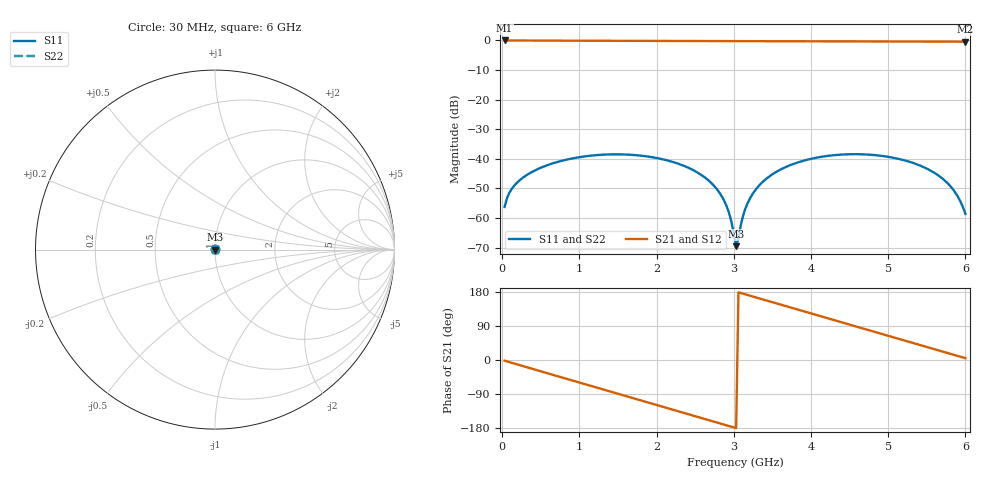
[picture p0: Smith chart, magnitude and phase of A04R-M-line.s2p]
! yapnr Order 0 O0-M: O0-M A04R M dL30 ROT (line, family M)
! stackup OSHPARK-4L-FR408HR, nominal parameters; geometry of the OSHPARK-4L-FR408HR design
! model: 2D quasi-static RLGC (Djordjevic-Sarkar, Huray roughness, Wheeler loss); generated by python -m yapnr.rf.coupons expected --stackup OSHPARK-4L-FR408HR --upload M
! reference planes 10 mm from each end; 50 ohm (from the M line's Zc)
# GHz S DB R 50
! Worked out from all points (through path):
!   200 points, 30 MHz to 6 GHz, reference 50 ohm
!   highest |S21| = -0.01 dB at 30 MHz (marker M1); lowest = -0.4 dB at 6 GHz (marker M2)
!   group delay of S21, straight-line fit = 164 ps
!   lowest |S11| = -69.5 dB at 3.03 GHz (marker M3), VSWR 1.00, Z = 50 - j0.00849 ohm
!   |S11| at or under -10 dB: start of sweep to end of sweep
!   |S22| runs from -69.5 to -38.4 dB; largest |S21 - S12| = 0
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0.03  -56.27 41.8  -0.01 -1.9  -0.01 -1.9  -56.27 41.8
0.12  -50.26 42.2  -0.03 -7.3  -0.03 -7.3  -50.26 42.2
0.33  -45.28 38.6  -0.05 -19.8  -0.05 -19.8  -45.28 38.6
0.66  -41.50 27.4  -0.08 -39.4  -0.08 -39.4  -41.50 27.4
1.05  -39.26 10.3  -0.11 -62.6  -0.11 -62.6  -39.26 10.3
1.53  -38.51 -13.3  -0.14 -91.0  -0.14 -91.0  -38.51 -13.3
2.04  -39.95 -39.7  -0.18 -121.2  -0.18 -121.2  -39.95 -39.7
2.46  -43.65 -61.4  -0.21 -146.0  -0.21 -146.0  -43.65 -61.4
2.76  -49.63 -75.0  -0.23 -163.8  -0.23 -163.8  -49.63 -75.0
2.91  -56.24 -76.7  -0.23 -172.6  -0.23 -172.6  -56.24 -76.7
2.97  -61.44 -69.5  -0.24 -176.2  -0.24 -176.2  -61.44 -69.5
3.03  -69.53 -14.7  -0.24 -179.7  -0.24 -179.7  -69.53 -14.7
3.15  -56.82 64.4  -0.25 173.2  -0.25 173.2  -56.82 64.4
3.3  -49.86 63.4  -0.26 164.3  -0.26 164.3  -49.86 63.4
3.6  -43.70 49.6  -0.28 146.6  -0.28 146.6  -43.70 49.6
4.02  -39.90 27.2  -0.31 121.8  -0.31 121.8  -39.90 27.2
4.53  -38.45 -0.9  -0.34 91.6  -0.34 91.6  -38.45 -0.9
5.01  -39.39 -27.3  -0.37 63.3  -0.37 63.3  -39.39 -27.3
5.37  -41.86 -46.5  -0.39 42.0  -0.39 42.0  -41.86 -46.5
5.67  -46.02 -60.8  -0.41 24.3  -0.41 24.3  -46.02 -60.8
5.88  -51.84 -66.0  -0.42 11.9  -0.42 11.9  -51.84 -66.0
6  -58.62 -55.6  -0.43 4.8  -0.43 4.8  -58.62 -55.6
